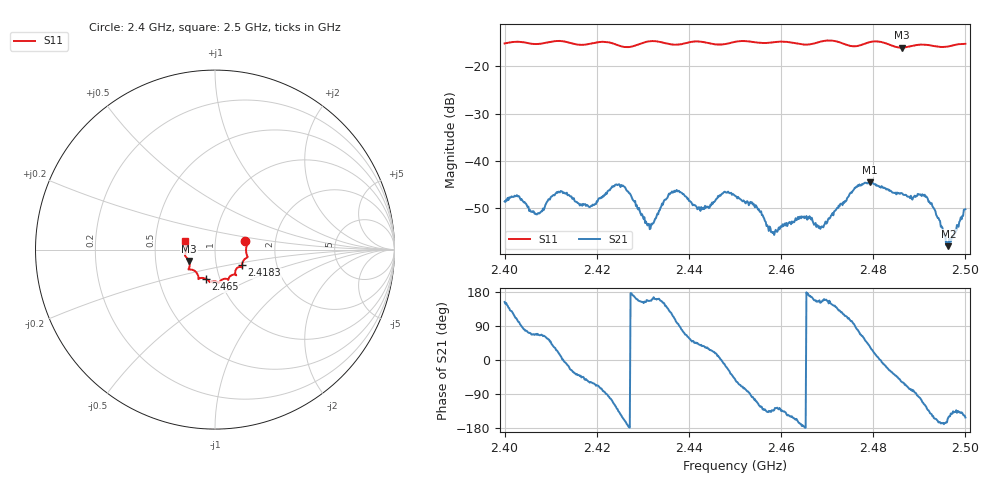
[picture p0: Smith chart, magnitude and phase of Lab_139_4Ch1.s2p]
# Hz S RI R 50
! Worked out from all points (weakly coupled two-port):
!   601 points, 2.4 GHz to 2.5 GHz, reference 50 ohm
!   highest |S21| = -44.58 dB at 2.4793 GHz (marker M1); lowest = -58.1 dB at 2.4963 GHz (marker M2)
!   lowest |S11| = -16.0 dB at 2.4862 GHz (marker M3), VSWR 1.38, Z = 37.1 - j4.8 ohm
!   |S11| at or under -10 dB: start of sweep to end of sweep
!   S12 and S22 are empty: the file has one direction only
!   S11 on the Smith chart (normalised r, x): 2.4 GHz: 1.40, +0.13; 2.4183 GHz: 1.33, -0.24; 2.465 GHz: 0.86, -0.29; 2.5 GHz: 0.71, +0.07
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2.4e9  0.1691 0.0457  -0.0033 0.00167  0 0  0 0
2.402667e9  0.1796 0.0338  -0.00128 0.00412  0 0  0 0
2.407167e9  0.173 -0.00551  0.000985 0.00257  0 0  0 0
2.412e9  0.1816 -0.042  0.00449 0.00106  0 0  0 0
2.416667e9  0.155 -0.0683  0.00239 -0.00248  0 0  0 0
2.418333e9  0.15 -0.0869  0.00172 -0.00274  0 0  0 0
2.4245e9  0.1384 -0.0961  -0.00349 -0.00426  0 0  0 0
2.431167e9  0.1171 -0.1421  -0.00195 0.000874  0 0  0 0
2.433333e9  0.1169 -0.1414  -0.00255 0.00089  0 0  0 0
2.436833e9  0.0914 -0.1436  -0.00164 0.00451  0 0  0 0
2.442333e9  0.0736 -0.1682  0.0024 0.00203  0 0  0 0
2.45e9  0.0251 -0.1806  0.0027 -0.00329  0 0  0 0
2.458333e9  -0.0203 -0.1793  -0.00121 -0.00127  0 0  0 0
2.465e9  -0.0529 -0.1622  -0.00256 -0.000192  0 0  0 0
2.466667e9  -0.0715 -0.1576  -0.00241 0.000599  0 0  0 0
2.469e9  -0.0897 -0.1621  -0.00184 0.000776  0 0  0 0
2.479333e9  -0.144 -0.1105  0.0049 0.00328  0 0  0 0
2.483333e9  -0.1422 -0.096  0.00449 -0.00208  0 0  0 0
2.486167e9  -0.145 -0.0632  0.00243 -0.00382  0 0  0 0
2.491333e9  -0.1668 -0.0317  -0.00214 -0.00354  0 0  0 0
2.496333e9  -0.1622 0.0204  -0.00108 -0.000606  0 0  0 0
2.5e9  -0.167 0.0475  -0.00269 -0.00145  0 0  0 0
